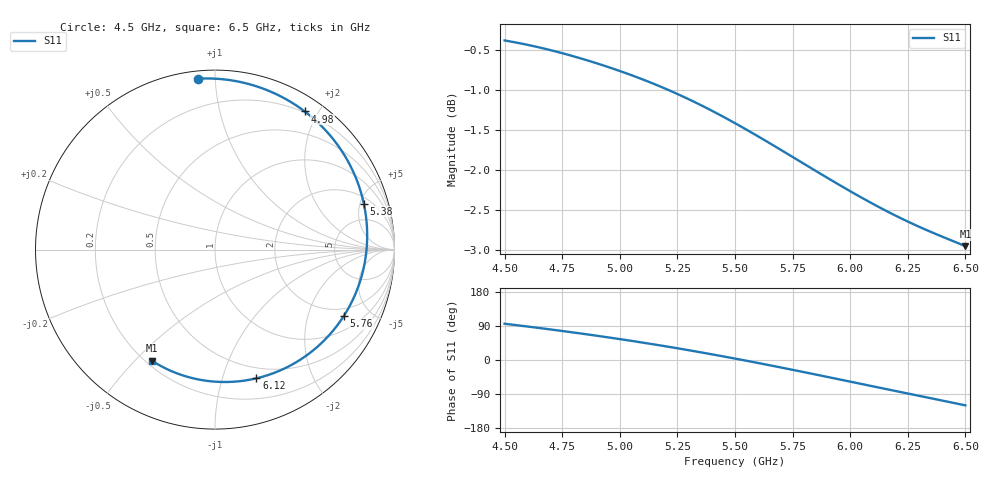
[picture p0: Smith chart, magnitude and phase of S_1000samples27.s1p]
! TOUCHSTONE file generated by CST MICROWAVE STUDIO
! Date and time: Wed Oct 26 17:57:11 2022
! Project name: L.cst
! Parameters = {Di=1.27; Epsilon_r=1.56; InnerDiameter=1.27; Length=2; Lf=10; Lg=60; OuterConductorThickness=0.2921; OuterDiameter=3.6; Wf=3; Wp=41.2; de=1.5; df=6.8; g=0.8; gx=4.66215; gy=3.8369; h=2.34; hf=1.524; px=12.2327; py=12.5811; w=9.7; wx=7.57052; wy=8.74418}
! Header version: 2018
! Port assignment regex: !\s*Touchstone port\s*([0-9]+)\s*=\s*(CST MWS port|CST DS port)\s*([0-9]+|Zmin|Zmax)\s*\(\"(.*)\"\)(\s*mode\s*([0-9]+))?.*
! Touchstone port assignment:
! Touchstone port 1 = CST MWS port 1 ("")
# GHz S DB R 50
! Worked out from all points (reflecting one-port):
!   101 points, 4.5 GHz to 6.5 GHz, reference 50 ohm
!   lowest |S11| = -3.0 dB at 6.5 GHz (marker M1), VSWR 5.93, Z = 11.2 - j27.9 ohm
!   phase of S11 starts at 96 deg and turns -215 deg over the sweep
!   S11 on the Smith chart (normalised r, x): 4.5 GHz: 0.04, +0.91; 4.98 GHz: 0.19, +1.83; 5.38 GHz: 2.61, +5.41; 5.76 GHz: 1.62, -3.43; 6.12 GHz: 0.39, -1.30; 6.5 GHz: 0.22, -0.56
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4.5  -0.38 95.6
4.64  -0.46 85.2
4.76  -0.55 75.8
4.88  -0.65 65.8
4.98  -0.74 57.0
5  -0.76 55.2
5.12  -0.89 43.9
5.2  -0.99 36.0
5.26  -1.07 29.9
5.32  -1.15 23.6
5.38  -1.23 17.1
5.44  -1.32 10.5
5.5  -1.42 3.7
5.56  -1.52 -3.2
5.62  -1.62 -10.3
5.68  -1.72 -17.4
5.76  -1.86 -27.2
5.88  -2.07 -42.0
5.94  -2.17 -49.6
6  -2.27 -57.1
6.06  -2.37 -64.6
6.12  -2.46 -72.2
6.18  -2.55 -79.7
6.26  -2.66 -89.7
6.32  -2.74 -97.2
6.38  -2.81 -104.6
6.44  -2.88 -112.1
6.5  -2.96 -119.7
